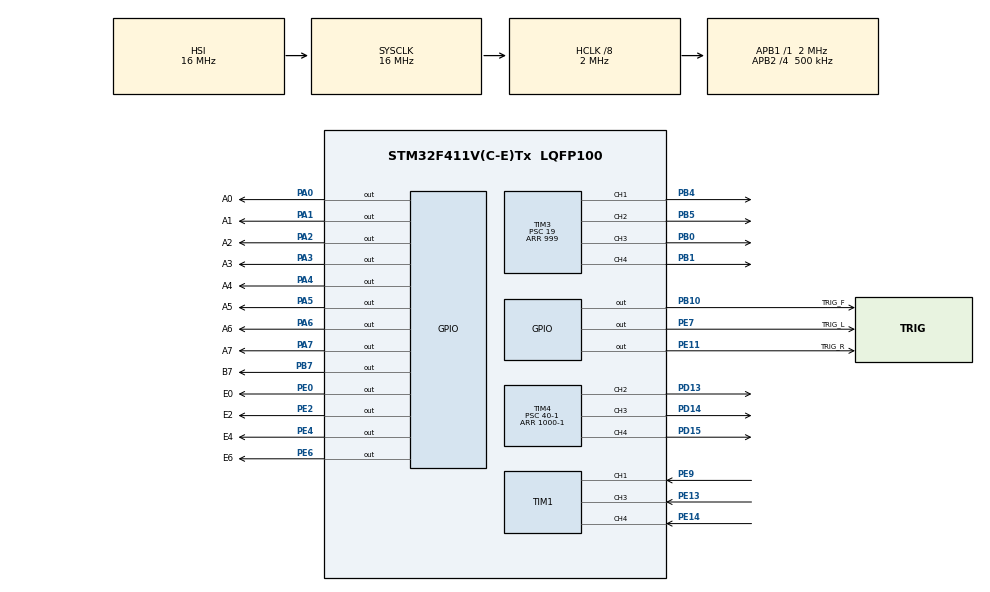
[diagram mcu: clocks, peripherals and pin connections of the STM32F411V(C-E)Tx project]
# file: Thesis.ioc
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Mcu.Family=STM32F4
Mcu.Name=STM32F411V(C-E)Tx
Mcu.Package=LQFP100
NVIC.PriorityGroup=NVIC_PRIORITYGROUP_0
NVIC.TIM1_CC_IRQn=true\:0\:0\:false\:false\:true\:true\:true\:true
NVIC.TIM4_IRQn=true\:0\:0\:false\:false\:true\:true\:true\:true
PA0-WKUP.GPIO_Label=A0
PA0-WKUP.Signal=GPIO_Output
PA1.GPIO_Label=A1
PA1.Signal=GPIO_Output
PA13.Mode=Serial_Wire
PA13.Signal=SYS_JTMS-SWDIO
PA14.Mode=Serial_Wire
PA14.Signal=SYS_JTCK-SWCLK
PA2.GPIO_Label=A2
PA2.Signal=GPIO_Output
PA3.GPIO_Label=A3
PA3.Signal=GPIO_Output
PA4.GPIO_Label=A4
PA4.Signal=GPIO_Output
PA5.GPIO_Label=A5
PA5.Signal=GPIO_Output
PA6.GPIO_Label=A6
PA6.Signal=GPIO_Output
PA7.GPIO_Label=A7
PA7.Signal=GPIO_Output
PB0.Signal=S_TIM3_CH3
PB1.Signal=S_TIM3_CH4
PB10.GPIO_Label=TRIG_F
PB10.Signal=GPIO_Output
PB4.Signal=S_TIM3_CH1
PB5.Signal=S_TIM3_CH2
PB7.GPIO_Label=B7
PB7.Signal=GPIO_Output
PD13.Signal=S_TIM4_CH2
PD14.Signal=S_TIM4_CH3
PD15.Signal=S_TIM4_CH4
PE0.GPIO_Label=E0
PE0.Signal=GPIO_Output
PE11.GPIO_Label=TRIG_R
PE11.Signal=GPIO_Output
PE13.Signal=S_TIM1_CH3
PE14.Signal=S_TIM1_CH4
PE2.GPIO_Label=E2
PE2.Signal=GPIO_Output
PE4.GPIO_Label=E4
PE4.Signal=GPIO_Output
PE6.GPIO_Label=E6
PE6.Signal=GPIO_Output
PE7.GPIO_Label=TRIG_L
PE7.Signal=GPIO_Output
PE9.Signal=S_TIM1_CH1
PH0\ -\ OSC_IN.Mode=HSE-External-Oscillator
PH0\ -\ OSC_IN.Signal=RCC_OSC_IN
PH1\ -\ OSC_OUT.Mode=HSE-External-Oscillator
PH1\ -\ OSC_OUT.Signal=RCC_OSC_OUT
ProjectManager.HeapSize=0x200
ProjectManager.StackSize=0x400
ProjectManager.TargetToolchain=STM32CubeIDE
RCC.48MHZClocksFreq_Value=48000000
RCC.AHBCLKDivider=RCC_SYSCLK_DIV8
RCC.AHBFreq_Value=2000000
RCC.APB1Freq_Value=2000000
RCC.APB1TimFreq_Value=2000000
RCC.APB2CLKDivider=RCC_HCLK_DIV4
RCC.APB2Freq_Value=500000
RCC.APB2TimFreq_Value=1000000
RCC.CortexFreq_Value=2000000
RCC.HCLKFreq_Value=2000000
RCC.HSE_VALUE=8000000
RCC.HSI_VALUE=16000000
RCC.LSE_VALUE=32768
RCC.PLLI2SM=5
RCC.PLLI2SN=200
RCC.PLLM=8
RCC.PLLP=RCC_PLLP_DIV4
RCC.PLLQ=8
RCC.SYSCLKFreq_VALUE=16000000
RCC.VCOOutputFreq_Value=384000000
SH.S_TIM1_CH1.0=TIM1_CH1,Input_Capture1_from_TI1
SH.S_TIM1_CH3.0=TIM1_CH3,Input_Capture3_from_TI3
SH.S_TIM1_CH4.0=TIM1_CH4,Input_Capture4_from_TI4
SH.S_TIM3_CH1.0=TIM3_CH1,PWM Generation1 CH1
SH.S_TIM3_CH2.0=TIM3_CH2,PWM Generation2 CH2
SH.S_TIM3_CH3.0=TIM3_CH3,PWM Generation3 CH3
SH.S_TIM3_CH4.0=TIM3_CH4,PWM Generation4 CH4
SH.S_TIM4_CH2.0=TIM4_CH2,PWM Generation2 CH2
SH.S_TIM4_CH3.0=TIM4_CH3,PWM Generation3 CH3
SH.S_TIM4_CH4.0=TIM4_CH4,PWM Generation4 CH4
TIM1.Channel-Input_Capture1_from_TI1=TIM_CHANNEL_1
TIM1.Channel-Input_Capture3_from_TI3=TIM_CHANNEL_3
TIM1.Channel-Input_Capture4_from_TI4=TIM_CHANNEL_4
TIM3.Channel-PWM\ Generation1\ CH1=TIM_CHANNEL_1
TIM3.Channel-PWM\ Generation2\ CH2=TIM_CHANNEL_2
TIM3.Channel-PWM\ Generation3\ CH3=TIM_CHANNEL_3
TIM3.Channel-PWM\ Generation4\ CH4=TIM_CHANNEL_4
TIM3.Period=999
TIM3.Prescaler=19
TIM3.Pulse-PWM\ Generation1\ CH1=350
TIM3.Pulse-PWM\ Generation2\ CH2=350
TIM3.Pulse-PWM\ Generation3\ CH3=350
TIM3.Pulse-PWM\ Generation4\ CH4=350
TIM4.Channel-PWM\ Generation2\ CH2=TIM_CHANNEL_2
TIM4.Channel-PWM\ Generation3\ CH3=TIM_CHANNEL_3
TIM4.Channel-PWM\ Generation4\ CH4=TIM_CHANNEL_4
TIM4.Period=1000-1
TIM4.Prescaler=40-1
VP_TIM4_VS_ClockSourceINT.Mode=Internal
board=STM32F411E-DISCO

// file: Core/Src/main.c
/* USER CODE BEGIN Header */
/**
  ******************************************************************************
  * @file           : main.c
  * @brief          : Main program body
  ******************************************************************************
  * @attention
  *
  * <h2><center>&copy; Copyright (c) 2022 STMicroelectronics.
  * All rights reserved.</center></h2>
  *
  * This software component is licensed by ST under BSD 3-Clause license,
  * the "License"; You may not use this file except in compliance with the
  * License. You may obtain a copy of the License at:
  *                        opensource.org/licenses/BSD-3-Clause
  *
  ******************************************************************************
Banh FR: ENA B5, in1 E6, in2 E4
Banh BR: ENB B4, in3 E2, in4 E0

Banh FL: ENA B0, in1 A6, in2 A4
Banh BL: ENB B1, in3 A2, in4 A0

Distance 1: ben trai, Echo E9, Trig E7 (TRIG_L)
Distance 2: ben phai, Echo E13, Trig E11 (TRIG_R)
Distance 3: dang truoc, Echo E14, Trig B10 (TRIG_F)
  */
/* USER CODE END Header */
#include "main.h"

 TIM_HandleTypeDef htim1;
TIM_HandleTypeDef htim3;
TIM_HandleTypeDef htim4;

void SystemClock_Config(void);
static void MX_GPIO_Init(void);
static void MX_TIM1_Init(void);
static void MX_TIM3_Init(void);
static void MX_TIM4_Init(void);

/* USER CODE BEGIN 0 */
void delay (uint16_t time)
{
	__HAL_TIM_SET_COUNTER(&htim1, 0);
	while (__HAL_TIM_GET_COUNTER (&htim1) < time);
}
uint32_t IC_Val1 = 0;
uint32_t IC_Val2 = 0;
uint32_t Difference = 0;
uint8_t Is_First_Captured = 0;  // is the first value captured ?
unsigned int Distance1  = 0;
unsigned int Distance2  = 0;
unsigned int Distance3  = 0;
int a=0;
int i=0;
int state=3;

void HAL_TIM_IC_CaptureCallback(TIM_HandleTypeDef *htim)
{
	if (htim->Channel == HAL_TIM_ACTIVE_CHANNEL_3)  // if the interrupt source is channel1
	{
		if (Is_First_Captured==0) // neu chua co gia tri canh len
		{
			IC_Val1 = HAL_TIM_ReadCapturedValue(htim, TIM_CHANNEL_3); // timestamp khi co canh len o chan echo
			Is_First_Captured = 1;  // khi gia tri chan echo len 1
			// Now change the polarity to falling edge
			__HAL_TIM_SET_CAPTUREPOLARITY(htim, TIM_CHANNEL_3, TIM_INPUTCHANNELPOLARITY_FALLING);
		}

		else if (Is_First_Captured==1)   // neu da co gia tri canh len, thi doc cho canh xuong
		{
			IC_Val2 = HAL_TIM_ReadCapturedValue(htim, TIM_CHANNEL_3);  // timestamp cua canh xuong
			__HAL_TIM_SET_COUNTER(htim, 0);  // reset counter

			if (IC_Val2 > IC_Val1)
			{
				Difference = IC_Val2-IC_Val1;
			}

			else if (IC_Val1 > IC_Val2)
			{
				Difference = (0xffff - IC_Val1) + IC_Val2;
			}

			Distance2 = Difference * .034/2;
			Is_First_Captured = 0; // reset lai gia tri cac timestamp de doc tiep

			// set polarity to rising edge
			__HAL_TIM_SET_CAPTUREPOLARITY(htim, TIM_CHANNEL_3, TIM_INPUTCHANNELPOLARITY_RISING);
			__HAL_TIM_DISABLE_IT(&htim1, TIM_IT_CC3);
		}
	}
	else if (htim->Channel == HAL_TIM_ACTIVE_CHANNEL_1)  // if the interrupt source is channel1
		{
			if (Is_First_Captured==0) // if the first value is not captured
			{
				IC_Val1 = HAL_TIM_ReadCapturedValue(htim, TIM_CHANNEL_1); // read the first value
				Is_First_Captured = 1;  // set the first captured as true
				// Now change the polarity to falling edge
				__HAL_TIM_SET_CAPTUREPOLARITY(htim, TIM_CHANNEL_1, TIM_INPUTCHANNELPOLARITY_FALLING);
			}

			else if (Is_First_Captured==1)   // if the first is already captured
			{
				IC_Val2 = HAL_TIM_ReadCapturedValue(htim, TIM_CHANNEL_1);  // read second value
				__HAL_TIM_SET_COUNTER(htim, 0);  // reset the counter

				if (IC_Val2 > IC_Val1)
				{
					Difference = IC_Val2-IC_Val1;
				}

				else if (IC_Val1 > IC_Val2)
				{
					Difference = (0xffff - IC_Val1) + IC_Val2;
				}

				Distance1 = Difference * .034/2;
				Is_First_Captured = 0; // set it back to false

				// set polarity to rising edge
				__HAL_TIM_SET_CAPTUREPOLARITY(htim, TIM_CHANNEL_1, TIM_INPUTCHANNELPOLARITY_RISING);
				__HAL_TIM_DISABLE_IT(&htim1, TIM_IT_CC1);
			}
		}
	else if (htim->Channel == HAL_TIM_ACTIVE_CHANNEL_4)  // if the interrupt source is channel1
		{
			if (Is_First_Captured==0) // if the first value is not captured
			{
				IC_Val1 = HAL_TIM_ReadCapturedValue(htim, TIM_CHANNEL_4); // read the first value
				Is_First_Captured = 1;  // set the first captured as true
				// Now change the polarity to falling edge
				__HAL_TIM_SET_CAPTUREPOLARITY(htim, TIM_CHANNEL_4, TIM_INPUTCHANNELPOLARITY_FALLING);
			}

			else if (Is_First_Captured==1)   // if the first is already captured
			{
				IC_Val2 = HAL_TIM_ReadCapturedValue(htim, TIM_CHANNEL_4);  // read second value
				__HAL_TIM_SET_COUNTER(htim, 0);  // reset the counter

				if (IC_Val2 > IC_Val1)
				{
					Difference = IC_Val2-IC_Val1;
				}

				else if (IC_Val1 > IC_Val2)
				{
					Difference = (0xffff - IC_Val1) + IC_Val2;
				}

				Distance3 = Difference * .034/2;
				Is_First_Captured = 0; // set it back to false

				// set polarity to rising edge
				__HAL_TIM_SET_CAPTUREPOLARITY(htim, TIM_CHANNEL_4, TIM_INPUTCHANNELPOLARITY_RISING);
				__HAL_TIM_DISABLE_IT(&htim1, TIM_IT_CC4);
			}
		}
}

void HCSR04_Read (void) //ben phai
{
	HAL_GPIO_WritePin(TRIG_R_GPIO_Port, TRIG_R_Pin, GPIO_PIN_SET);  // pull the TRIG pin HIGH
	delay(10);  // wait for 10 us
	HAL_GPIO_WritePin(TRIG_R_GPIO_Port, TRIG_R_Pin, GPIO_PIN_RESET);  // pull the TRIG pin low

	__HAL_TIM_ENABLE_IT(&htim1, TIM_IT_CC3);
}
void HCSR04_Read_1 (void) //ben trai
{
	HAL_GPIO_WritePin(TRIG_L_GPIO_Port, TRIG_L_Pin, GPIO_PIN_SET);  // pull the TRIG pin HIGH
	delay(10);  // wait for 10 us
	HAL_GPIO_WritePin(TRIG_L_GPIO_Port, TRIG_L_Pin, GPIO_PIN_RESET);  // pull the TRIG pin low

	__HAL_TIM_ENABLE_IT(&htim1, TIM_IT_CC1);
}
void HCSR04_Read_2 (void) //dang truoc
{
	HAL_GPIO_WritePin(TRIG_F_GPIO_Port, TRIG_F_Pin, GPIO_PIN_SET);  // pull the TRIG pin HIGH
	delay(10);  // wait for 10 us
	HAL_GPIO_WritePin(TRIG_F_GPIO_Port, TRIG_F_Pin, GPIO_PIN_RESET);  // pull the TRIG pin low

	__HAL_TIM_ENABLE_IT(&htim1, TIM_IT_CC4);
}

void tien_len (void)
{

	 HAL_GPIO_WritePin(GPIOA,A1_Pin,GPIO_PIN_SET);   // banh BR quay toi
	 HAL_GPIO_WritePin(GPIOA,A3_Pin,GPIO_PIN_RESET);

	 HAL_GPIO_WritePin(GPIOA,A7_Pin,GPIO_PIN_SET);   //banh FR quay toi
	 HAL_GPIO_WritePin(GPIOA,A5_Pin,GPIO_PIN_RESET);

	 HAL_GPIO_WritePin(GPIOA,A4_Pin,GPIO_PIN_SET);   // banh FL quay toi
	 HAL_GPIO_WritePin(GPIOA,A6_Pin,GPIO_PIN_RESET);

	 HAL_GPIO_WritePin(GPIOA,A2_Pin,GPIO_PIN_SET);   //banh BL quay toi
	 HAL_GPIO_WritePin(GPIOA,A0_Pin,GPIO_PIN_RESET);

	 __HAL_TIM_SET_COMPARE(&htim3,TIM_CHANNEL_1,400*0.7);
	 __HAL_TIM_SET_COMPARE(&htim3,TIM_CHANNEL_2,380*0.7);
	 __HAL_TIM_SET_COMPARE(&htim3,TIM_CHANNEL_3,400*0.7);
	 __HAL_TIM_SET_COMPARE(&htim3,TIM_CHANNEL_4,400*0.7);
}

void lui_lai (void)
{
	 HAL_GPIO_WritePin(GPIOA,A1_Pin,GPIO_PIN_RESET);   // banh BR quay lui
	 HAL_GPIO_WritePin(GPIOA,A3_Pin,GPIO_PIN_SET);

	 HAL_GPIO_WritePin(GPIOA,A7_Pin,GPIO_PIN_RESET);   //banh FR quay lui
	 HAL_GPIO_WritePin(GPIOA,A5_Pin,GPIO_PIN_SET);

	 HAL_GPIO_WritePin(GPIOA,A4_Pin,GPIO_PIN_RESET);   // banh FL quay lui
	 HAL_GPIO_WritePin(GPIOA,A6_Pin,GPIO_PIN_SET);

	 HAL_GPIO_WritePin(GPIOA,A2_Pin,GPIO_PIN_RESET);   //banh BL quay lui
	 HAL_GPIO_WritePin(GPIOA,A0_Pin,GPIO_PIN_SET);

	 __HAL_TIM_SET_COMPARE(&htim3,TIM_CHANNEL_1,400*0.7);
	 __HAL_TIM_SET_COMPARE(&htim3,TIM_CHANNEL_2,380*0.7);
	 __HAL_TIM_SET_COMPARE(&htim3,TIM_CHANNEL_3,400*0.7);
	 __HAL_TIM_SET_COMPARE(&htim3,TIM_CHANNEL_4,400*0.7);

}

void qua_trai (void)
{
	 HAL_GPIO_WritePin(GPIOA,A7_Pin,GPIO_PIN_SET);   //banh FR quay toi
	 HAL_GPIO_WritePin(GPIOA,A5_Pin,GPIO_PIN_RESET);

	 HAL_GPIO_WritePin(GPIOA,A1_Pin,GPIO_PIN_RESET);   // banh BR quay lui
	 HAL_GPIO_WritePin(GPIOA,A3_Pin,GPIO_PIN_SET);

	 HAL_GPIO_WritePin(GPIOA,A4_Pin,GPIO_PIN_RESET);   // banh FL quay lui
	 HAL_GPIO_WritePin(GPIOA,A6_Pin,GPIO_PIN_SET);

	 HAL_GPIO_WritePin(GPIOA,A2_Pin,GPIO_PIN_SET);   //banh BL quay toi
	 HAL_GPIO_WritePin(GPIOA,A0_Pin,GPIO_PIN_RESET);

	 __HAL_TIM_SET_COMPARE(&htim3,TIM_CHANNEL_1,550*1.2);
	 __HAL_TIM_SET_COMPARE(&htim3,TIM_CHANNEL_2,512*1.2);
	 __HAL_TIM_SET_COMPARE(&htim3,TIM_CHANNEL_3,570*1.2);
	 __HAL_TIM_SET_COMPARE(&htim3,TIM_CHANNEL_4,560*1.2);

}

void qua_phai (void)
{
	 HAL_GPIO_WritePin(GPIOA,A7_Pin,GPIO_PIN_RESET);   //banh FR quay lui
	 HAL_GPIO_WritePin(GPIOA,A5_Pin,GPIO_PIN_SET);

	 HAL_GPIO_WritePin(GPIOA,A1_Pin,GPIO_PIN_SET);   // banh BR quay toi
	 HAL_GPIO_WritePin(GPIOA,A3_Pin,GPIO_PIN_RESET);

	 HAL_GPIO_WritePin(GPIOA,A4_Pin,GPIO_PIN_SET);   // banh FL quay toi
	 HAL_GPIO_WritePin(GPIOA,A6_Pin,GPIO_PIN_RESET);

	 HAL_GPIO_WritePin(GPIOA,A2_Pin,GPIO_PIN_RESET);   //banh BL quay lui
	 HAL_GPIO_WritePin(GPIOA,A0_Pin,GPIO_PIN_SET);

	 __HAL_TIM_SET_COMPARE(&htim3,TIM_CHANNEL_1,560*1.2);//BR
	 __HAL_TIM_SET_COMPARE(&htim3,TIM_CHANNEL_2,540*1.2);//FR
	 __HAL_TIM_SET_COMPARE(&htim3,TIM_CHANNEL_3,570*1.2);//FL
	 __HAL_TIM_SET_COMPARE(&htim3,TIM_CHANNEL_4,560*1.2);//BL

}

void dung_lai (void)
{
	 HAL_GPIO_WritePin(GPIOA,A1_Pin,GPIO_PIN_RESET);   // banh BR quay toi
	 HAL_GPIO_WritePin(GPIOA,A3_Pin,GPIO_PIN_RESET);

	 HAL_GPIO_WritePin(GPIOA,A7_Pin,GPIO_PIN_RESET);   //banh FR quay toi
	 HAL_GPIO_WritePin(GPIOA,A5_Pin,GPIO_PIN_RESET);

	 HAL_GPIO_WritePin(GPIOA,A4_Pin,GPIO_PIN_RESET);   // banh FL quay toi
	 HAL_GPIO_WritePin(GPIOA,A6_Pin,GPIO_PIN_RESET);

	 HAL_GPIO_WritePin(GPIOA,A2_Pin,GPIO_PIN_RESET);   //banh BL quay toi
	 HAL_GPIO_WritePin(GPIOA,A0_Pin,GPIO_PIN_RESET);

}

void work_trai (void)
{

	//CCR 4 nap, CCR 2 cua, CCR3 quay
	//quay giua
	int i = 102;
	htim4.Instance->CCR3 = 102;//giua
	HAL_Delay(500);

	//nap hat
	htim4.Instance->CCR4 = 73;
	HAL_Delay(120);

	htim4.Instance->CCR4 = 83;
	HAL_Delay(3000);

	//140 quay trai
	while (i<140)
	{
		htim4.Instance->CCR3 = i;

		i++;

		HAL_Delay(80);
	}
	HAL_Delay(1000);

	//dong mo cua hat
	htim4.Instance->CCR2 = 50;
	HAL_Delay(1000);

	htim4.Instance->CCR2 = 80;
	HAL_Delay(1000);

	HAL_GPIO_WritePin(GPIOB,B7_Pin,GPIO_PIN_SET);
	HAL_Delay(400);
	HAL_GPIO_WritePin(GPIOB,B7_Pin,GPIO_PIN_RESET);
	HAL_Delay(1000);

	//quay giua
	i = 102;
	htim4.Instance->CCR3 = 102;//giua
	HAL_Delay(500);

}

void work_phai (void)
{

	//CCR 4 nap, CCR 2 cua, CCR3 quay
	//quay giua
	i = 102;
	htim4.Instance->CCR3 = 102;//giua
	HAL_Delay(500);

	//nap hat
	htim4.Instance->CCR4 = 73;
	HAL_Delay(120);

	htim4.Instance->CCR4 = 83;
	HAL_Delay(3000);

	//60 quay phai
	while (i>60)
	{
		htim4.Instance->CCR3 = i;

		i--;

		HAL_Delay(80);
	}
	HAL_Delay(1000);

	//dong mo cua hat
	htim4.Instance->CCR2 = 50;
	HAL_Delay(1000);

	htim4.Instance->CCR2 = 80;
	HAL_Delay(1000);

	HAL_GPIO_WritePin(GPIOB,B7_Pin,GPIO_PIN_SET);
	HAL_Delay(200);
	HAL_GPIO_WritePin(GPIOB,B7_Pin,GPIO_PIN_RESET);
	HAL_Delay(1000);

	htim4.Instance->CCR3 = 102;
	HAL_Delay(1000);

}
/* USER CODE END 0 */

int main(void)
{

  /* MCU Configuration--------------------------------------------------------*/

  /* Reset of all peripherals, Initializes the Flash interface and the Systick. */
  HAL_Init();

  /* Configure the system clock */
  SystemClock_Config();

  /* Initialize all configured peripherals */
  MX_GPIO_Init();
  MX_TIM1_Init();
  MX_TIM3_Init();
  MX_TIM4_Init();
  /* USER CODE BEGIN 2 */
  HAL_TIM_IC_Start_IT(&htim1, TIM_CHANNEL_1);
  HAL_TIM_IC_Start_IT(&htim1, TIM_CHANNEL_3);
  HAL_TIM_IC_Start_IT(&htim1, TIM_CHANNEL_4);

  HAL_TIM_Base_Start(&htim3);               //Initialize stm32 timer 3
  HAL_TIM_PWM_Start(&htim3,TIM_CHANNEL_1);
  HAL_TIM_PWM_Start(&htim3,TIM_CHANNEL_2);
  HAL_TIM_PWM_Start(&htim3,TIM_CHANNEL_3);
  HAL_TIM_PWM_Start(&htim3,TIM_CHANNEL_4);

  HAL_TIM_Base_Start(&htim4);               //Initialize stm32 timer 3
  HAL_TIM_PWM_Start(&htim4,TIM_CHANNEL_2);
  HAL_TIM_PWM_Start(&htim4,TIM_CHANNEL_3);
  HAL_TIM_PWM_Start(&htim4,TIM_CHANNEL_4);
  /* USER CODE END 2 */

  /* Infinite loop */
  /* USER CODE BEGIN WHILE */
  while (1)
  {

	  switch (state)
	  {
	  case 1:
		  HCSR04_Read();
		  HAL_Delay(50);

		  HCSR04_Read_1();
		  HAL_Delay(50);

		  a = Distance2 - Distance1;
		  if (a>5) //sai so 3cm
			  qua_phai();

		  else if (a<-5)
			  qua_trai();

		  else if (a<5 || a>-5)
			  {
			  dung_lai();
			  HAL_Delay(500);
			  state = 2;
			  }
		  break;

//	  case 2:
//		  tien_len();
//		  HAL_Delay(500);
//		  dung_lai();
//		  HAL_Delay(500);
//		  HCSR04_Read_2();
//		  HAL_Delay(50);
//
//		  if(Distance3 <= 15)
//			  state = 3;
//		  else
//			  {
//			  work();
//			  state = 2;
//			  }
//
//
//		  break;

	  case 2:
		  tien_len();
		  HAL_Delay(600);
		  dung_lai();
		  HAL_Delay(500);
		  HCSR04_Read_2();
		  HAL_Delay(50);

		  if(Distance3 <= 15)
			  state = 3;
		  else
			  state = 4;
		  break;

	  case 3:
		  dung_lai();
		  HCSR04_Read();
		  HAL_Delay(50);

		  HCSR04_Read_1();
		  HAL_Delay(50);

		  i = Distance2 - Distance1;
		  if (i>8 || i<-8)
			  state = 1;
		  else
			  state = 3;
		  break;

	  case 4:
		  HCSR04_Read_1();
		  HAL_Delay(50);

		  HCSR04_Read();
		  HAL_Delay(50);

		  if(Distance1 > 8)
			  qua_trai();
		  else if(Distance1 <= 8)
		  {
			  dung_lai();
			  HAL_Delay(500);
			  work_trai();
			  state = 5;
		  }
		  break;

	  case 5:
		  HCSR04_Read();
		  HAL_Delay(50);

		  HCSR04_Read_1();
		  HAL_Delay(50);

		  if(Distance2 > 8)
			  qua_phai();
		  else if (Distance2 <= 8)
		  {
			  dung_lai();
			  HAL_Delay(500);
			  work_phai();
			  state = 3;
		  }
		  break;
	  default:
		  state = 3;

	  }

    /* USER CODE END WHILE */

  }
}

void SystemClock_Config(void)
{
  RCC_OscInitTypeDef RCC_OscInitStruct = {0};
  RCC_ClkInitTypeDef RCC_ClkInitStruct = {0};

  /** Configure the main internal regulator output voltage
  */
  __HAL_RCC_PWR_CLK_ENABLE();
  __HAL_PWR_VOLTAGESCALING_CONFIG(PWR_REGULATOR_VOLTAGE_SCALE1);

  /** Initializes the RCC Oscillators according to the specified parameters
  * in the RCC_OscInitTypeDef structure.
  */
  RCC_OscInitStruct.OscillatorType = RCC_OSCILLATORTYPE_HSI;
  RCC_OscInitStruct.HSIState = RCC_HSI_ON;
  RCC_OscInitStruct.HSICalibrationValue = RCC_HSICALIBRATION_DEFAULT;
  RCC_OscInitStruct.PLL.PLLState = RCC_PLL_NONE;
  if (HAL_RCC_OscConfig(&RCC_OscInitStruct) != HAL_OK)
  {
    Error_Handler();
  }

  /** Initializes the CPU, AHB and APB buses clocks
  */
  RCC_ClkInitStruct.ClockType = RCC_CLOCKTYPE_HCLK|RCC_CLOCKTYPE_SYSCLK
                              |RCC_CLOCKTYPE_PCLK1|RCC_CLOCKTYPE_PCLK2;
  RCC_ClkInitStruct.SYSCLKSource = RCC_SYSCLKSOURCE_HSI;
  RCC_ClkInitStruct.AHBCLKDivider = RCC_SYSCLK_DIV8;
  RCC_ClkInitStruct.APB1CLKDivider = RCC_HCLK_DIV1;
  RCC_ClkInitStruct.APB2CLKDivider = RCC_HCLK_DIV4;

  if (HAL_RCC_ClockConfig(&RCC_ClkInitStruct, FLASH_LATENCY_0) != HAL_OK)
  {
    Error_Handler();
  }
}

static void MX_TIM1_Init(void)
{

  TIM_MasterConfigTypeDef sMasterConfig = {0};
  TIM_IC_InitTypeDef sConfigIC = {0};

  htim1.Instance = TIM1;
  htim1.Init.Prescaler = 0;
  htim1.Init.CounterMode = TIM_COUNTERMODE_UP;
  htim1.Init.Period = 65535;
  htim1.Init.ClockDivision = TIM_CLOCKDIVISION_DIV1;
  htim1.Init.RepetitionCounter = 0;
  htim1.Init.AutoReloadPreload = TIM_AUTORELOAD_PRELOAD_DISABLE;
  if (HAL_TIM_IC_Init(&htim1) != HAL_OK)
  {
    Error_Handler();
  }
  sMasterConfig.MasterOutputTrigger = TIM_TRGO_RESET;
  sMasterConfig.MasterSlaveMode = TIM_MASTERSLAVEMODE_DISABLE;
  if (HAL_TIMEx_MasterConfigSynchronization(&htim1, &sMasterConfig) != HAL_OK)
  {
    Error_Handler();
  }
  sConfigIC.ICPolarity = TIM_INPUTCHANNELPOLARITY_RISING;
  sConfigIC.ICSelection = TIM_ICSELECTION_DIRECTTI;
  sConfigIC.ICPrescaler = TIM_ICPSC_DIV1;
  sConfigIC.ICFilter = 0;
  if (HAL_TIM_IC_ConfigChannel(&htim1, &sConfigIC, TIM_CHANNEL_1) != HAL_OK)
  {
    Error_Handler();
  }
  if (HAL_TIM_IC_ConfigChannel(&htim1, &sConfigIC, TIM_CHANNEL_3) != HAL_OK)
  {
    Error_Handler();
  }
  if (HAL_TIM_IC_ConfigChannel(&htim1, &sConfigIC, TIM_CHANNEL_4) != HAL_OK)
  {
    Error_Handler();
  }

}

static void MX_TIM3_Init(void)
{

  TIM_MasterConfigTypeDef sMasterConfig = {0};
  TIM_OC_InitTypeDef sConfigOC = {0};

  htim3.Instance = TIM3;
  htim3.Init.Prescaler = 19;
  htim3.Init.CounterMode = TIM_COUNTERMODE_UP;
  htim3.Init.Period = 999;
  htim3.Init.ClockDivision = TIM_CLOCKDIVISION_DIV1;
  htim3.Init.AutoReloadPreload = TIM_AUTORELOAD_PRELOAD_DISABLE;
  if (HAL_TIM_PWM_Init(&htim3) != HAL_OK)
  {
    Error_Handler();
  }
  sMasterConfig.MasterOutputTrigger = TIM_TRGO_RESET;
  sMasterConfig.MasterSlaveMode = TIM_MASTERSLAVEMODE_DISABLE;
  if (HAL_TIMEx_MasterConfigSynchronization(&htim3, &sMasterConfig) != HAL_OK)
  {
    Error_Handler();
  }
  sConfigOC.OCMode = TIM_OCMODE_PWM1;
  sConfigOC.Pulse = 350;
  sConfigOC.OCPolarity = TIM_OCPOLARITY_HIGH;
  sConfigOC.OCFastMode = TIM_OCFAST_DISABLE;
  if (HAL_TIM_PWM_ConfigChannel(&htim3, &sConfigOC, TIM_CHANNEL_1) != HAL_OK)
  {
    Error_Handler();
  }
  if (HAL_TIM_PWM_ConfigChannel(&htim3, &sConfigOC, TIM_CHANNEL_2) != HAL_OK)
  {
    Error_Handler();
  }
  if (HAL_TIM_PWM_ConfigChannel(&htim3, &sConfigOC, TIM_CHANNEL_3) != HAL_OK)
  {
    Error_Handler();
  }
  if (HAL_TIM_PWM_ConfigChannel(&htim3, &sConfigOC, TIM_CHANNEL_4) != HAL_OK)
  {
    Error_Handler();
  }
  HAL_TIM_MspPostInit(&htim3);

}

static void MX_TIM4_Init(void)
{

  TIM_ClockConfigTypeDef sClockSourceConfig = {0};
  TIM_MasterConfigTypeDef sMasterConfig = {0};
  TIM_OC_InitTypeDef sConfigOC = {0};

  htim4.Instance = TIM4;
  htim4.Init.Prescaler = 40-1;
  htim4.Init.CounterMode = TIM_COUNTERMODE_UP;
  htim4.Init.Period = 1000-1;
  htim4.Init.ClockDivision = TIM_CLOCKDIVISION_DIV1;
  htim4.Init.AutoReloadPreload = TIM_AUTORELOAD_PRELOAD_DISABLE;
  if (HAL_TIM_Base_Init(&htim4) != HAL_OK)
  {
    Error_Handler();
  }
  sClockSourceConfig.ClockSource = TIM_CLOCKSOURCE_INTERNAL;
  if (HAL_TIM_ConfigClockSource(&htim4, &sClockSourceConfig) != HAL_OK)
  {
    Error_Handler();
  }
  if (HAL_TIM_PWM_Init(&htim4) != HAL_OK)
  {
    Error_Handler();
  }
  sMasterConfig.MasterOutputTrigger = TIM_TRGO_RESET;
  sMasterConfig.MasterSlaveMode = TIM_MASTERSLAVEMODE_DISABLE;
  if (HAL_TIMEx_MasterConfigSynchronization(&htim4, &sMasterConfig) != HAL_OK)
  {
    Error_Handler();
  }
  sConfigOC.OCMode = TIM_OCMODE_PWM1;
  sConfigOC.Pulse = 0;
  sConfigOC.OCPolarity = TIM_OCPOLARITY_HIGH;
  sConfigOC.OCFastMode = TIM_OCFAST_DISABLE;
  if (HAL_TIM_PWM_ConfigChannel(&htim4, &sConfigOC, TIM_CHANNEL_2) != HAL_OK)
  {
    Error_Handler();
  }
  if (HAL_TIM_PWM_ConfigChannel(&htim4, &sConfigOC, TIM_CHANNEL_3) != HAL_OK)
  {
    Error_Handler();
  }
  if (HAL_TIM_PWM_ConfigChannel(&htim4, &sConfigOC, TIM_CHANNEL_4) != HAL_OK)
  {
    Error_Handler();
  }
  HAL_TIM_MspPostInit(&htim4);

}

static void MX_GPIO_Init(void)
{
  GPIO_InitTypeDef GPIO_InitStruct = {0};

  /* GPIO Ports Clock Enable */
  __HAL_RCC_GPIOE_CLK_ENABLE();
  __HAL_RCC_GPIOH_CLK_ENABLE();
  __HAL_RCC_GPIOA_CLK_ENABLE();
  __HAL_RCC_GPIOB_CLK_ENABLE();
  __HAL_RCC_GPIOD_CLK_ENABLE();

  /*Configure GPIO pin Output Level */
  HAL_GPIO_WritePin(GPIOE, E2_Pin|E4_Pin|E6_Pin|TRIG_L_Pin
                          |TRIG_R_Pin|E0_Pin, GPIO_PIN_RESET);

  /*Configure GPIO pin Output Level */
  HAL_GPIO_WritePin(GPIOA, A0_Pin|A1_Pin|A2_Pin|A3_Pin
                          |A4_Pin|A5_Pin|A6_Pin|A7_Pin, GPIO_PIN_RESET);

  /*Configure GPIO pin Output Level */
  HAL_GPIO_WritePin(GPIOB, TRIG_F_Pin|B7_Pin, GPIO_PIN_RESET);

  /*Configure GPIO pins : E2_Pin E4_Pin E6_Pin TRIG_L_Pin
                           TRIG_R_Pin E0_Pin */
  GPIO_InitStruct.Pin = E2_Pin|E4_Pin|E6_Pin|TRIG_L_Pin
                          |TRIG_R_Pin|E0_Pin;
  GPIO_InitStruct.Mode = GPIO_MODE_OUTPUT_PP;
  GPIO_InitStruct.Pull = GPIO_NOPULL;
  GPIO_InitStruct.Speed = GPIO_SPEED_FREQ_LOW;
  HAL_GPIO_Init(GPIOE, &GPIO_InitStruct);

  /*Configure GPIO pins : A0_Pin A1_Pin A2_Pin A3_Pin
                           A4_Pin A5_Pin A6_Pin A7_Pin */
  GPIO_InitStruct.Pin = A0_Pin|A1_Pin|A2_Pin|A3_Pin
                          |A4_Pin|A5_Pin|A6_Pin|A7_Pin;
  GPIO_InitStruct.Mode = GPIO_MODE_OUTPUT_PP;
  GPIO_InitStruct.Pull = GPIO_NOPULL;
  GPIO_InitStruct.Speed = GPIO_SPEED_FREQ_LOW;
  HAL_GPIO_Init(GPIOA, &GPIO_InitStruct);

  /*Configure GPIO pins : TRIG_F_Pin B7_Pin */
  GPIO_InitStruct.Pin = TRIG_F_Pin|B7_Pin;
  GPIO_InitStruct.Mode = GPIO_MODE_OUTPUT_PP;
  GPIO_InitStruct.Pull = GPIO_NOPULL;
  GPIO_InitStruct.Speed = GPIO_SPEED_FREQ_LOW;
  HAL_GPIO_Init(GPIOB, &GPIO_InitStruct);

}

void Error_Handler(void)
{
  __disable_irq();
  while (1)
  {
  }
}
